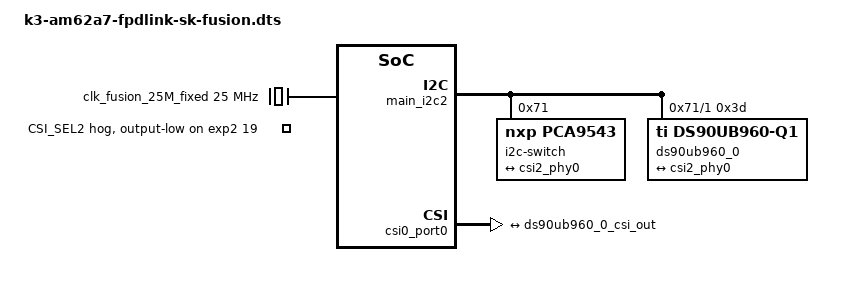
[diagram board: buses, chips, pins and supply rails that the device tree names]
// SPDX-License-Identifier: GPL-2.0
/*
 * Copyright (C) 2022 Texas Instruments Incorporated - http://www.ti.com/
 */

/dts-v1/;
/plugin/;

#include <dt-bindings/gpio/gpio.h>

/ {
	fragment@101 {
		target-path = "/";

		__overlay__ {
			clk_fusion_25M_fixed: fixed-clock-25M {
				compatible = "fixed-clock";
				#clock-cells = <0>;
				clock-frequency = <25000000>;
			};
		};
	};
};

&exp2 {
	p19-hog {
		/* P19 - CSI_SEL2 */
		gpio-hog;
		gpios = <19 GPIO_ACTIVE_HIGH>;
		output-low;
		line-name = "CSI_SEL2";
	};
};

&main_i2c2 {
	#address-cells = <1>;
	#size-cells = <0>;
	status = "okay";

	i2c-switch@71 {
		compatible = "nxp,pca9543";
		#address-cells = <1>;
		#size-cells = <0>;
		reg = <0x71>;

		cam0_i2c: i2c@1 {
			#address-cells = <1>;
			#size-cells = <0>;
			reg = <1>;

			ds90ub960_0: deser@3d {
				compatible = "ti,ds90ub960-q1";

				reg-names = "main", "ser0", "ser1", "ser2", "ser3";
				reg       = <0x3d>, <0x44>, <0x45>, <0x46>, <0x47>;

				clocks = <&clk_fusion_25M_fixed>;

				i2c-alias-pool = /bits/ 16 <0x4a 0x4b 0x4c 0x4d 0x4e 0x4f>;

				data-rate = <1600000000>;

				#clock-cells = <0>;

				ds90ub960_0_ports: ports {
					#address-cells = <1>;
					#size-cells = <0>;

					/* CSI-2 */
					port@4 {
						reg = <4>;
						ds90ub960_0_csi_out: endpoint {
							clock-lanes = <0>;
							data-lanes = <1 2 3 4>;
							remote-endpoint = <&csi2_phy0>;
						};
					};
				};

				ds90ub960_0_atr: i2c-atr {
					#address-cells = <1>;
					#size-cells = <0>;
				};
			};
		};
	};
};

&csi0_port0 {
	status = "okay";

	csi2_phy0: endpoint {
		remote-endpoint = <&ds90ub960_0_csi_out>;
		clock-lanes = <0>;
		data-lanes = <1 2 3 4>;
	};
};
